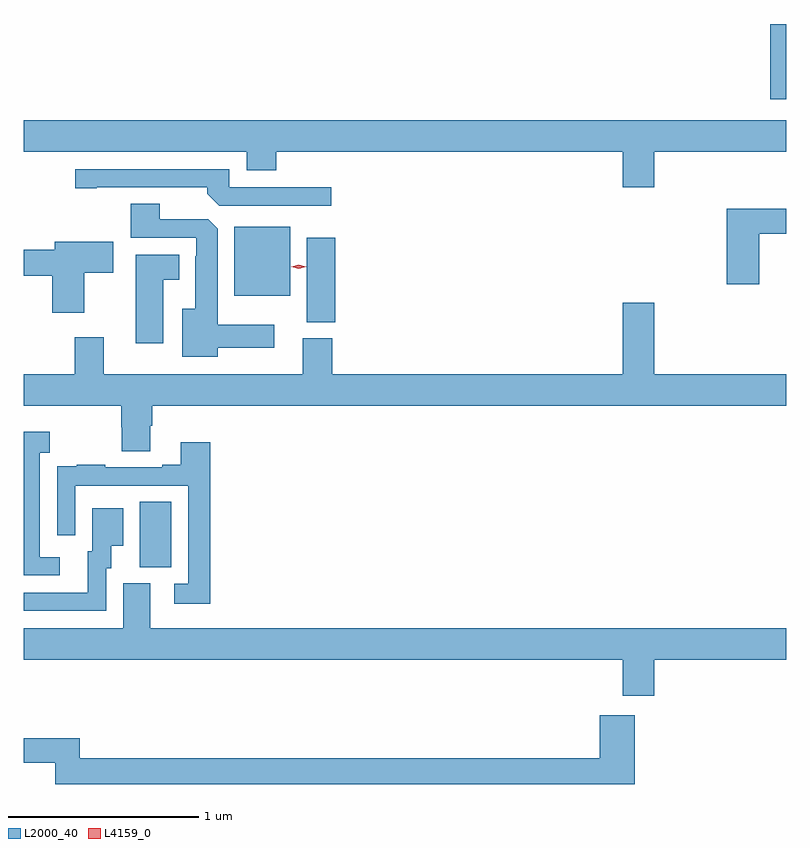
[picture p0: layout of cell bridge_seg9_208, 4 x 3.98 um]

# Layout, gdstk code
import gdstk
lib = gdstk.Library(unit=1e-6, precision=1e-09)
def R(c, l, rs):  # rectangles x0, y0, x1, y1
    for r in rs: c.add(gdstk.rectangle(r[:2], r[2:], *l))
def P(c, l, *ps):  # polygons
    for p in ps: c.add(gdstk.Polygon(p, *l))
L2000_40 = (2000, 40)
L4159_0 = (4159, 0)

bridge_seg9_208 = lib.new_cell('bridge_seg9_208')
R(bridge_seg9_208, L2000_40, [(162.476,1190.245,162.64,1190.588), (163.352,1191.529,163.499,1191.973), (162.971,1191.668,163.264,1192.03), (165.781,1192.698,165.866,1193.093)])
P(bridge_seg9_208, L2000_40, [(165.172,1192.424),(165.866,1192.424),(165.866,1192.588),(161.866,1192.588),(161.866,1192.424),(163.037,1192.424),(163.037,1192.325),(163.19,1192.325),(163.19,1192.424),(165.008,1192.424),(165.008,1192.236),(165.172,1192.236)],
  [(163.48,1192.236),(162.945,1192.236),(162.945,1192.332),(162.138,1192.332),(162.138,1192.231),(162.25,1192.231),(162.25,1192.236),(162.83,1192.236),(162.83,1192.202),(162.891,1192.14),(163.48,1192.14)],
  [(162.883,1191.395),(163.18,1191.395),(163.18,1191.517),(162.883,1191.517),(162.883,1192.019),(162.834,1192.068),(162.58,1192.068),(162.58,1192.151),(162.428,1192.151),(162.428,1191.972),(162.771,1191.972),(162.771,1191.875),(162.767,1191.875),(162.767,1191.601),(162.698,1191.601),(162.698,1191.347),(162.883,1191.347)],
  [(165.724,1191.994),(165.866,1191.994),(165.866,1192.123),(165.554,1192.123),(165.554,1191.729),(165.724,1191.729)],
  [(162.184,1191.79),(162.337,1191.79),(162.337,1191.952),(162.029,1191.952),(162.029,1191.908),(161.866,1191.908),(161.866,1191.772),(162.017,1191.772),(162.017,1191.579),(162.184,1191.579)],
  [(162.598,1191.752),(162.682,1191.752),(162.682,1191.883),(162.455,1191.883),(162.455,1191.42),(162.598,1191.42)],
  [(162.529,1190.986),(162.542,1190.986),(162.542,1191.092),(165.866,1191.092),(165.866,1191.256),(165.172,1191.256),(165.172,1191.631),(165.008,1191.631),(165.008,1191.256),(163.484,1191.256),(163.484,1191.444),(163.331,1191.444),(163.331,1191.256),(162.286,1191.256),(162.286,1191.451),(162.134,1191.451),(162.134,1191.256),(161.866,1191.256),(161.866,1191.092),(162.377,1191.092),(162.377,1190.979),(162.382,1190.979),(162.382,1190.854),(162.529,1190.854)],
  [(162.055,1190.298),(161.952,1190.298),(161.952,1190.846),(162.004,1190.846),(162.004,1190.956),(161.866,1190.956),(161.866,1190.202),(162.055,1190.202)],
  [(162.845,1190.899),(162.689,1190.899),(162.689,1190.782),(162.593,1190.782),(162.593,1190.769),(162.293,1190.769),(162.293,1190.782),(162.145,1190.782),(162.145,1190.775),(162.043,1190.775),(162.043,1190.666),(162.042,1190.666),(162.042,1190.412),(162.138,1190.412),(162.138,1190.673),(162.729,1190.673),(162.729,1190.157),(162.657,1190.157),(162.657,1190.052),(162.845,1190.052)],
  [(162.3,1190.238),(162.325,1190.238),(162.325,1190.357),(162.388,1190.357),(162.388,1190.554),(162.227,1190.554),(162.227,1190.328),(162.203,1190.328),(162.203,1190.112),(161.866,1190.112),(161.866,1190.016),(162.3,1190.016)],
  [(165.172,1189.76),(165.866,1189.76),(165.866,1189.924),(162.529,1189.924),(162.529,1190.16),(162.389,1190.16),(162.389,1189.924),(161.866,1189.924),(161.866,1189.76),(165.008,1189.76),(165.008,1189.572),(165.172,1189.572)],
  [(165.071,1189.468),(164.888,1189.468),(164.888,1189.244),(162.161,1189.244),(162.161,1189.348),(161.866,1189.348),(161.866,1189.219),(162.033,1189.219),(162.033,1189.108),(165.071,1189.108)])
P(bridge_seg9_208, L4159_0, [(163.309,1191.81),(163.27,1191.82),(163.27,1191.82),(163.27,1191.82),(163.309,1191.83),(163.348,1191.82),(163.348,1191.82),(163.348,1191.82)])

lib.write_gds('bridge_seg9_208.gds')
